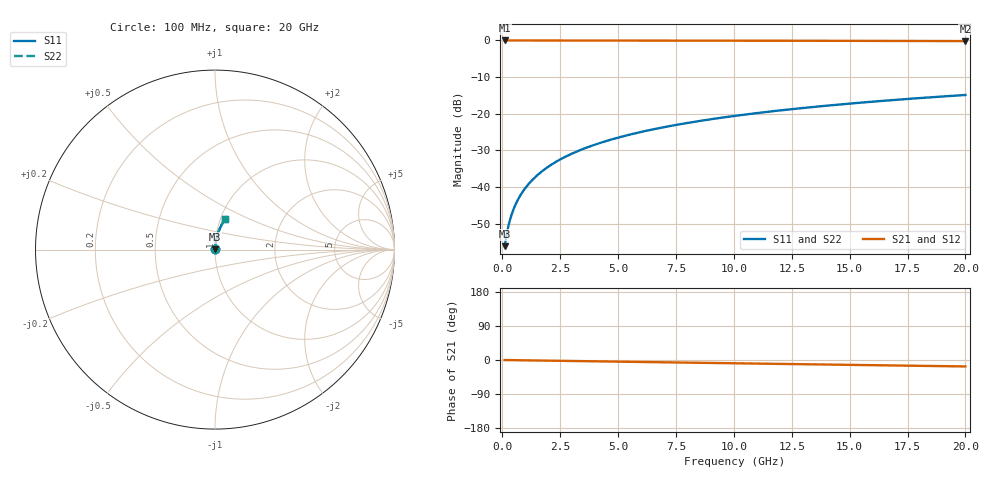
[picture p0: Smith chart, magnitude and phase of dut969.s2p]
! Touchstone file exported from HFSS 2026.1.0
!  File:  C:/ffzhzh/LocalFiles/Ansys_Project_Files/temp_train_BSMRDL_969_1783172558_18472.aedt
!  Generated:  09:43:54 PM Jul  4, 2026
!  Design:  BSMRDL
!  Project:  temp_train_BSMRDL_969_1783172558_18472
! Variables:
!  h_bsmrdl = 2.94um
!  h_ox = 20um
!  h_rdl = 5um
!  h_sub = 80um
!  h_tmrdl = 5um
!  h_tsv = 80um
!  h_via = 3um
!  l_bsmrdl = 193.83um
!  l_sub = 593.83um
!  l_tmrdl = 200um
!  m_sub = 200um
!  pitch = 57.12um
!  r_tsv = 6um
!  s_tmrdl = 10um
!  w_bsmrdl = 26.71um
!  w_sub = 500um
!  w_tmrdl = 12um
!  x_tsv_center1 = 206um
!  x_tsv_center2 = 426.54um
!  x_tsv_center3 = 638.54um
!  x_tsv_center4 = 859.08um
!  x_tsv_center5 = 1071.08um
!  x_tsv_center6 = 1291.62um
# GHz S MA R 50.000000
! Terminal data exported
! Port[1] = BSM_RDL1_1_T1
! Port[2] = BSM_RDL1_1_T2
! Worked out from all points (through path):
!   200 points, 100 MHz to 20 GHz, reference 50 ohm
!   highest |S21| = -0.01 dB at 100 MHz (marker M1); lowest = -0.2 dB at 20 GHz (marker M2)
!   group delay of S21, straight-line fit = 2.36 ps
!   lowest |S11| = -56.1 dB at 100 MHz (marker M3), VSWR 1.00, Z = 50.1 + j0.103 ohm
!   |S11| at or under -10 dB: start of sweep to end of sweep
!   |S22| runs from -56.1 to -14.9 dB; largest |S21 - S12| = 2.2e-15
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0.1  0.001564 41.2  0.9988 -0.1  0.9988 -0.1  0.001564 41.2
! Gamma 0 0 0 0
! Port Impedance 50 0 50 0
0.2  0.002381 58.9  0.9988 -0.2  0.9988 -0.2  0.002381 58.9
0.3  0.003286 66.8  0.9987 -0.3  0.9987 -0.3  0.003286 66.8
0.4  0.004204 71.1  0.9987 -0.4  0.9987 -0.4  0.004204 71.1
0.5  0.005123 74.0  0.9986 -0.4  0.9986 -0.4  0.005123 74.0
0.6  0.006043 75.9  0.9986 -0.5  0.9986 -0.5  0.006043 75.9
0.8  0.007889 78.6  0.9985 -0.7  0.9985 -0.7  0.007888 78.6
1.1  0.01067 80.9  0.9984 -1.0  0.9984 -1.0  0.01067 80.9
1.5  0.01441 82.5  0.9983 -1.3  0.9983 -1.3  0.01441 82.5
1.8  0.01723 83.1  0.9983 -1.6  0.9983 -1.6  0.01723 83.1
2.1  0.02005 83.5  0.9982 -1.8  0.9982 -1.8  0.02005 83.5
2.7  0.02569 83.9  0.998 -2.4  0.998 -2.4  0.02569 83.9
3.5  0.0332 83.9  0.9977 -3.1  0.9977 -3.1  0.0332 83.9
4.2  0.03976 83.6  0.9973 -3.7  0.9973 -3.7  0.03976 83.6
5  0.04724 83.2  0.9969 -4.4  0.9969 -4.4  0.04724 83.2
5.9  0.0556 82.6  0.9963 -5.1  0.9963 -5.1  0.0556 82.6
6.8  0.06393 82.0  0.9956 -5.9  0.9956 -5.9  0.06393 82.0
8.3  0.0777 80.9  0.9944 -7.2  0.9944 -7.2  0.07769 80.9
10.1  0.09404 79.5  0.9926 -8.7  0.9926 -8.7  0.09404 79.5
13.4  0.1235 76.8  0.9888 -11.5  0.9888 -11.5  0.1235 76.9
16.7  0.1523 74.2  0.9844 -14.3  0.9844 -14.3  0.1523 74.2
20  0.1803 71.6  0.9792 -17.0  0.9792 -17.0  0.1803 71.6
